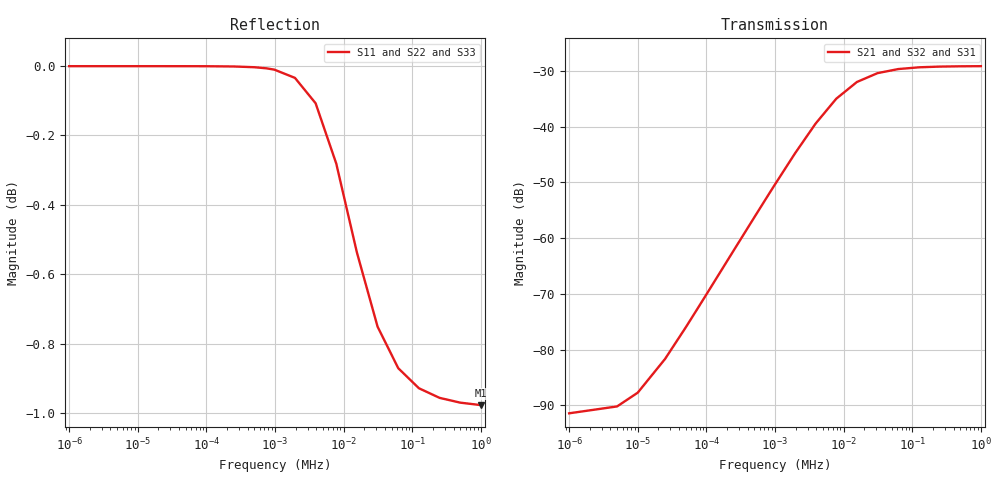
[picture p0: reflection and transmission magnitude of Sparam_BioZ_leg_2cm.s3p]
# GHz S MA R 50
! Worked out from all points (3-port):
!   21 points, 1 Hz to 1 MHz, reference 50 ohm
!   strongest paths, dB at 1 Hz, 75 Hz, 976.6 Hz, 31.25 kHz, 1 MHz:
!     S21: -91.5, -72.6, -50.6, -30.4, -29.1
!     S32: -91.5, -72.6, -50.6, -30.5, -29.2
!     S31: -91.5, -72.6, -50.6, -30.8, -29.3
!   lowest |S11| = -1.0 dB at 1 MHz (marker M1), VSWR 17.80, Z = 890 - j16.2 ohm
!   |S11| at or under -10 dB: nowhere
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1e-09  0.9999 -0.0  2.674e-05 6.7  2.674e-05 6.7
       2.674e-05 6.7  0.9999 -0.0  2.674e-05 6.7
       2.674e-05 6.7  2.674e-05 6.7  0.9999 -0.0
2.5e-08  0.9999 -0.0  8.228e-05 70.7  8.228e-05 70.7
         8.228e-05 70.7  0.9999 -0.0  8.228e-05 70.7
         8.228e-05 70.7  8.228e-05 70.7  0.9999 -0.0
5e-08  0.9999 -0.0  0.0001579 79.6  0.0001578 79.5
       0.0001579 79.6  0.9999 -0.0  0.0001579 79.6
       0.0001578 79.5  0.0001579 79.6  0.9999 -0.0
1.95313e-06  0.996 -1.0  0.005754 76.5  0.005746 75.8
             0.005754 76.5  0.9961 -1.0  0.005751 76.3
             0.005746 75.8  0.005751 76.3  0.9961 -1.0
3.90625e-06  0.9877 -1.7  0.01067 66.9  0.01061 65.8
             0.01067 66.9  0.9878 -1.7  0.01065 66.5
             0.01061 65.8  0.01065 66.5  0.9878 -1.7
7.8125e-06  0.9681 -2.5  0.01784 52.5  0.01753 50.9
            0.01784 52.5  0.9683 -2.5  0.01773 52.0
            0.01753 50.9  0.01773 52.0  0.9683 -2.5
1.5625e-05  0.94 -2.7  0.02521 35.9  0.02436 34.3
            0.02521 35.9  0.9398 -2.7  0.02492 35.4
            0.02436 34.3  0.02492 35.4  0.9398 -2.7
3.125e-05  0.9172 -2.1  0.03027 21.8  0.02893 20.9
           0.03027 21.8  0.9164 -2.1  0.02981 21.5
           0.02893 20.9  0.02981 21.5  0.9164 -2.1
6.25e-05  0.9046 -1.3  0.03293 12.3  0.03147 12.1
          0.03293 12.3  0.9036 -1.4  0.03242 12.2
          0.03147 12.1  0.03242 12.2  0.9036 -1.4
0.001  0.8936 -0.1  0.03495 0.8  0.03447 1.0
       0.03495 0.8  0.8932 -0.1  0.03476 0.9
       0.03447 1.0  0.03476 0.9  0.8932 -0.1
